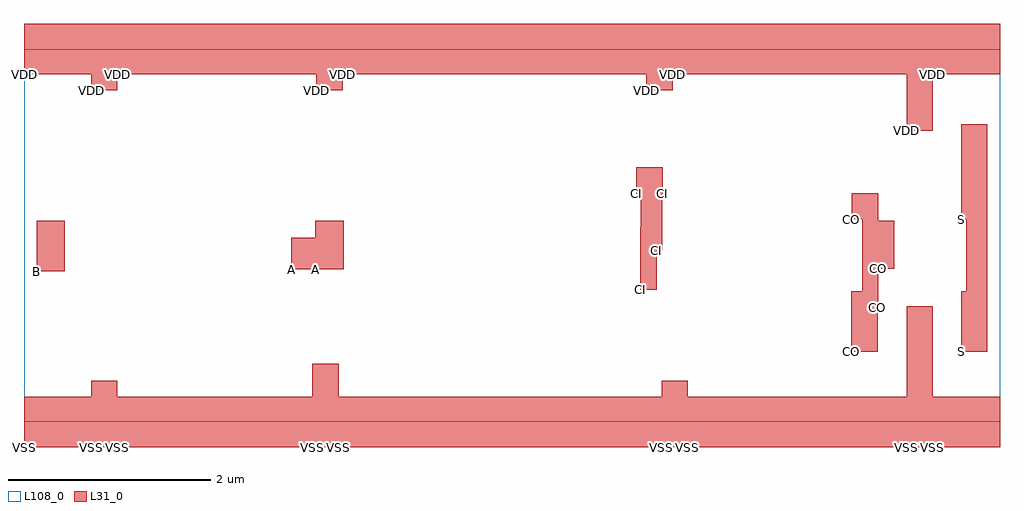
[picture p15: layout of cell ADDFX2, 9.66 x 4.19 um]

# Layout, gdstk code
import gdstk
lib = gdstk.Library(unit=1e-6, precision=1e-09)
def R(c, l, rs):  # rectangles x0, y0, x1, y1
    for r in rs: c.add(gdstk.rectangle(r[:2], r[2:], *l))
L31_0 = (31, 0)
L108_0 = (108, 0)

addfx2 = lib.new_cell('ADDFX2')
R(addfx2, L31_0, [(0,-0.25,0.665,0.25), (0.665,-0.25,0.925,0.405), (0.925,-0.25,2.855,0.25), (2.855,-0.25,3.115,0.575), (3.115,-0.25,6.31,0.25), (6.31,-0.25,6.57,0.405), (6.57,-0.25,8.735,0.25), (8.735,-0.25,8.995,1.145), (8.995,-0.25,9.66,0.25), (8.19,0.695,8.295,1.295), (8.295,0.695,8.45,2.265), (9.275,0.695,9.325,1.295), (9.325,0.695,9.535,2.945), (8.45,1.135,8.455,2.265), (6.1,1.31,6.105,1.925), (6.105,1.31,6.265,2.52), (0.125,1.49,0.405,1.99), (2.645,1.51,2.885,1.825), (2.885,1.51,3.165,1.99), (8.455,1.515,8.615,1.99), (6.265,1.7,6.315,2.52), (8.195,2.005,8.295,2.265), (9.275,2.005,9.325,2.945), (6.06,2.26,6.105,2.52), (6.315,2.26,6.32,2.52), (8.735,2.88,8.995,3.94), (0.665,3.285,0.925,3.94), (2.895,3.285,3.155,3.94), (6.16,3.285,6.42,3.94), (0,3.44,0.665,3.94), (0.925,3.44,2.895,3.94), (3.155,3.44,6.16,3.94), (6.42,3.44,8.735,3.94), (8.995,3.44,9.66,3.94)])
R(addfx2, L108_0, [(0,0,9.66,3.69)])
addfx2.add(gdstk.Label('S', (9.275,2.005), layer=131, texttype=0))
addfx2.add(gdstk.Label('S', (9.275,0.695), layer=131, texttype=0))
addfx2.add(gdstk.Label('S', (9.325,0.695), layer=131, texttype=0))
addfx2.add(gdstk.Label('CO', (8.195,2.005), layer=131, texttype=0))
addfx2.add(gdstk.Label('CO', (8.19,0.695), layer=131, texttype=0))
addfx2.add(gdstk.Label('CO', (8.295,0.695), layer=131, texttype=0))
addfx2.add(gdstk.Label('CO', (8.45,1.135), layer=131, texttype=0))
addfx2.add(gdstk.Label('CO', (8.455,1.515), layer=131, texttype=0))
addfx2.add(gdstk.Label('CI', (6.06,2.26), layer=131, texttype=0))
addfx2.add(gdstk.Label('CI', (6.1,1.31), layer=131, texttype=0))
addfx2.add(gdstk.Label('CI', (6.105,1.31), layer=131, texttype=0))
addfx2.add(gdstk.Label('CI', (6.265,1.7), layer=131, texttype=0))
addfx2.add(gdstk.Label('CI', (6.315,2.26), layer=131, texttype=0))
addfx2.add(gdstk.Label('B', (0.125,1.49), layer=131, texttype=0))
addfx2.add(gdstk.Label('A', (2.645,1.51), layer=131, texttype=0))
addfx2.add(gdstk.Label('A', (2.885,1.51), layer=131, texttype=0))
addfx2.add(gdstk.Label('VSS', (0,-0.25), layer=131, texttype=0))
addfx2.add(gdstk.Label('VSS', (0.665,-0.25), layer=131, texttype=0))
addfx2.add(gdstk.Label('VSS', (0.925,-0.25), layer=131, texttype=0))
addfx2.add(gdstk.Label('VSS', (2.855,-0.25), layer=131, texttype=0))
addfx2.add(gdstk.Label('VSS', (3.115,-0.25), layer=131, texttype=0))
addfx2.add(gdstk.Label('VSS', (6.31,-0.25), layer=131, texttype=0))
addfx2.add(gdstk.Label('VSS', (6.57,-0.25), layer=131, texttype=0))
addfx2.add(gdstk.Label('VSS', (8.735,-0.25), layer=131, texttype=0))
addfx2.add(gdstk.Label('VSS', (8.995,-0.25), layer=131, texttype=0))
addfx2.add(gdstk.Label('VDD', (0,3.44), layer=131, texttype=0))
addfx2.add(gdstk.Label('VDD', (0.665,3.285), layer=131, texttype=0))
addfx2.add(gdstk.Label('VDD', (0.925,3.44), layer=131, texttype=0))
addfx2.add(gdstk.Label('VDD', (2.895,3.285), layer=131, texttype=0))
addfx2.add(gdstk.Label('VDD', (3.155,3.44), layer=131, texttype=0))
addfx2.add(gdstk.Label('VDD', (6.16,3.285), layer=131, texttype=0))
addfx2.add(gdstk.Label('VDD', (6.42,3.44), layer=131, texttype=0))
addfx2.add(gdstk.Label('VDD', (8.735,2.88), layer=131, texttype=0))
addfx2.add(gdstk.Label('VDD', (8.995,3.44), layer=131, texttype=0))

lib.write_gds('ADDFX2.gds')
